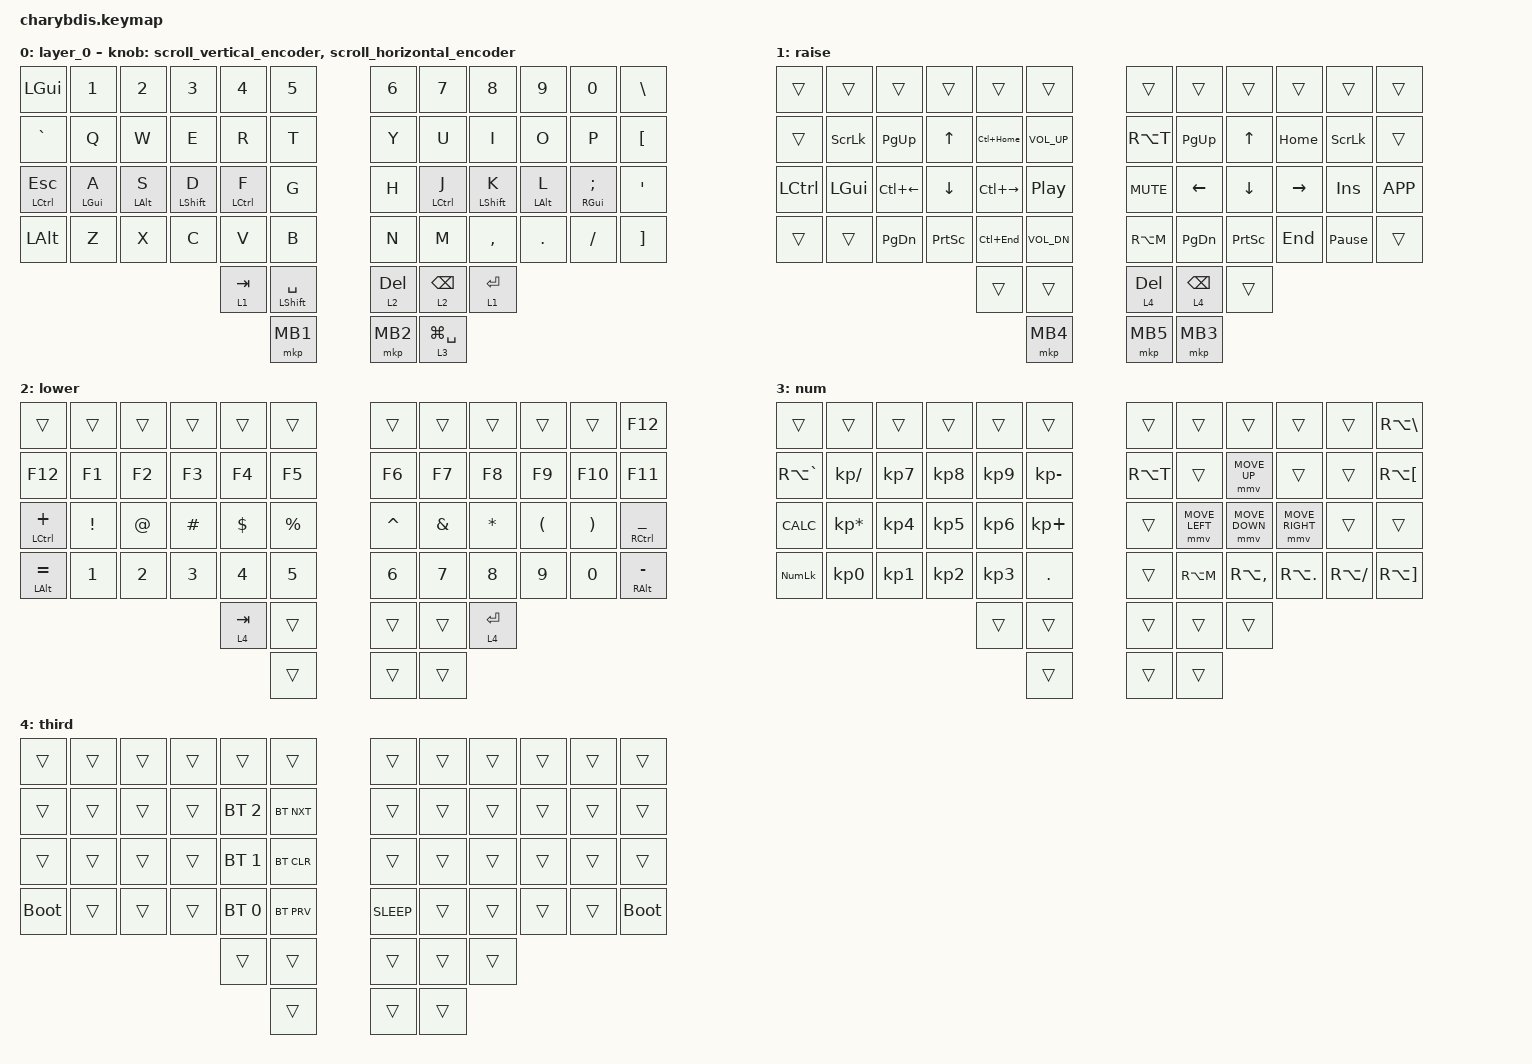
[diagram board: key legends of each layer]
    #include <dt-bindings/zmk/mouse.h>
#include <input/processors.dtsi>
#include <zephyr/dt-bindings/input/input-event-codes.h>
#include <behaviors.dtsi>
#include <dt-bindings/zmk/bt.h>
#include <dt-bindings/zmk/keys.h>
#include <dt-bindings/zmk/pointing.h>

#define ZMK_POINTING_DEFAULT_MOVE_VAL 1000 // 600
#define ZMK_POINTING_DEFAULT_SCRL_VAL 12   // 10

&lt {
    tapping-term-ms = <200>;
    flavor = "balanced";
    quick-tap-ms = <150>;
};

&mmv_input_listener { input-processors = <&zip_xy_scaler 2 1>; };

&msc_input_listener { input-processors = <&zip_scroll_scaler 2 1>; };

&msc {
    acceleration-exponent = <0>;      // 0
    time-to-max-speed-ms = <100>;       // 300
    delay-ms = <0>;                   // 0
};

&mmv {
    time-to-max-speed-ms = <500>;
    acceleration-exponent = <1>;
    trigger-period-ms = <16>;
};

/ {
    // 上下滚动编码器行为

    scroll_vertical_encoder: scroll_vertical_encoder {
        compatible = "zmk,behavior-sensor-rotate";
        #sensor-binding-cells = <0>;
        bindings = <&msc SCRL_DOWN>, <&msc SCRL_UP>;

        tap-ms = <100>;
    };

    // 左右滚动编码器行为

    scroll_horizontal_encoder: scroll_horizontal_encoder {
        compatible = "zmk,behavior-sensor-rotate";
        #sensor-binding-cells = <0>;
        bindings = <&msc SCRL_LEFT>, <&msc SCRL_RIGHT>;

        tap-ms = <100>;
    };

    hrml: homewrow_mods_left {
        compatible = "zmk,behavior-hold-tap";
        label = "HMRL";
        bindings = <&kp>, <&kp>;

        #binding-cells = <2>;
        tapping-term-ms = <280>;
        flavor = "balanced";
        hold-trigger-key-positions = <6 18 30 42 7 8 9 10 11 19 20 21 22 23 31 32 33 34 35 43 44 45 46 47 52 42 43 51 52 55>;
        require-prior-idle-ms = <150>;
        quick-tap-ms = <175>;
        hold-trigger-on-release;
    };

    hrmr: homewrow_mods_right {
        compatible = "zmk,behavior-hold-tap";
        label = "HRMR";
        bindings = <&kp>, <&kp>;

        #binding-cells = <2>;
        tapping-term-ms = <280>;
        hold-trigger-key-positions = <0 1 2 3 4 5 12 13 14 15 16 17 24 25 26 27 28 29 36 37 38 39 40 41 48 49 50 53 54>;
        flavor = "balanced";
        quick-tap-ms = <175>;
        require-prior-idle-ms = <150>;
        hold-trigger-on-release;
    };

    ltm: lt_for_mouse {
        compatible = "zmk,behavior-hold-tap";
        label = "LT_FOR_MOUSE";
        bindings = <&mo>, <&kp>;

        #binding-cells = <2>;
        tapping-term-ms = <200>;
        hold-while-undecided;
        flavor = "balanced";
        quick-tap-ms = <150>;
    };

    behaviors {
    };

    keymap {
        compatible = "zmk,keymap";

        layer_0 {
            bindings = <
&kp LEFT_GUI   &kp N1            &kp N2            &kp N3              &kp N4                &kp N5       &kp N6           &kp N7                &kp N8              &kp N9            &kp N0                     &kp BACKSLASH
&kp GRAVE      &kp Q             &kp W             &kp E               &kp R                 &kp T        &kp Y            &kp U                 &kp I               &kp O             &kp P                      &kp LBKT
&mt LCTRL ESC  &hrml LEFT_GUI A  &hrml LEFT_ALT S  &hrml LEFT_SHIFT D  &hrml LEFT_CONTROL F  &kp G        &kp H            &hrmr LEFT_CONTROL J  &hrmr LEFT_SHIFT K  &hrmr LEFT_ALT L  &hrmr RIGHT_GUI SEMICOLON  &kp SQT
&kp LALT       &kp Z             &kp X             &kp C               &kp V                 &kp B        &kp N            &kp M                 &kp COMMA           &kp DOT           &kp FSLH                   &kp RBKT
                                                   &ltm 1 TAB          &mt LSHFT SPACE       &lt 2 DEL    &lt 2 BACKSPACE  &lt 1 ENTER
                                                                       &mkp MB1              &mkp MB2     &lt 3 LG(SPACE)
            >;

            sensor-bindings =
                <&scroll_vertical_encoder>,
                // 编码器1：上下滚动,,,,,,,,,,,,,,,,,,,,,,,
                <&scroll_horizontal_encoder>;

            // 编码器2：左右滚动
        };

        raise {
            bindings = <
&trans     &trans        &trans        &trans     &trans         &trans          &trans           &trans         &trans     &trans     &trans           &trans
&trans     &kp SLCK      &kp PG_UP     &kp UP     &kp LC(HOME)   &kp C_VOL_UP    &kp RA(T)        &kp PG_UP      &kp UP     &kp HOME   &kp SLCK         &trans
&kp LCTRL  &kp LEFT_GUI  &kp LC(LEFT)  &kp DOWN   &kp LC(RIGHT)  &kp C_PP        &kp C_MUTE       &kp LEFT       &kp DOWN   &kp RIGHT  &kp INS          &kp K_APP
&trans     &trans        &kp PG_DN     &kp PSCRN  &kp LC(END)    &kp C_VOL_DN    &kp RA(M)        &kp PAGE_DOWN  &kp PSCRN  &kp END    &kp PAUSE_BREAK  &trans
                                       &trans     &trans         &lt 4 DEL       &lt 4 BACKSPACE  &trans
                                                  &mkp MB4       &mkp MB5        &mkp MB3
            >;
        };

        lower {
            bindings = <
&trans          &trans    &trans  &trans     &trans    &trans       &trans     &trans       &trans    &trans    &trans    &kp F12
&kp F12         &kp F1    &kp F2  &kp F3     &kp F4    &kp F5       &kp F6     &kp F7       &kp F8    &kp F9    &kp F10   &kp F11
&mt LCTRL PLUS  &kp EXCL  &kp AT  &kp HASH   &kp DLLR  &kp PRCNT    &kp CARET  &kp AMPS     &kp STAR  &kp LPAR  &kp RPAR  &mt RCTRL UNDER
&mt LALT EQUAL  &kp N1    &kp N2  &kp N3     &kp N4    &kp N5       &kp N6     &kp N7       &kp N8    &kp N9    &kp N0    &mt RALT MINUS
                                  &lt 4 TAB  &trans    &trans       &trans     &lt 4 ENTER
                                             &trans    &trans       &trans
            >;
        };

        num {
            bindings = <
&trans         &trans           &trans     &trans     &trans     &trans          &trans     &trans          &trans          &trans           &trans        &kp RA(BSLH)
&kp RA(GRAVE)  &kp KP_SLASH     &kp KP_N7  &kp KP_N8  &kp KP_N9  &kp KP_MINUS    &kp RA(T)  &trans          &mmv MOVE_UP    &trans           &trans        &kp RA(LBKT)
&kp K_CALC     &kp KP_ASTERISK  &kp KP_N4  &kp KP_N5  &kp KP_N6  &kp KP_PLUS     &trans     &mmv MOVE_LEFT  &mmv MOVE_DOWN  &mmv MOVE_RIGHT  &trans        &trans
&kp KP_NUM     &kp KP_N0        &kp KP_N1  &kp KP_N2  &kp KP_N3  &kp DOT         &trans     &kp RA(M)       &kp RA(COMMA)   &kp RA(DOT)      &kp RA(FSLH)  &kp RA(RBKT)
                                           &trans     &trans     &trans          &trans     &trans
                                                      &trans     &trans          &trans
            >;
        };

        third {
            bindings = <
&trans       &trans  &trans  &trans  &trans        &trans        &trans       &trans  &trans  &trans  &trans  &trans
&trans       &trans  &trans  &trans  &bt BT_SEL 2  &bt BT_NXT    &trans       &trans  &trans  &trans  &trans  &trans
&trans       &trans  &trans  &trans  &bt BT_SEL 1  &bt BT_CLR    &trans       &trans  &trans  &trans  &trans  &trans
&bootloader  &trans  &trans  &trans  &bt BT_SEL 0  &bt BT_PRV    &kp C_SLEEP  &trans  &trans  &trans  &trans  &bootloader
                             &trans  &trans        &trans        &trans       &trans
                                     &trans        &trans        &trans
            >;
        };

        /* layer_2 {
            bindings = <
&none  &none   &none    &none   &none         &none         &kp N1         &none         &none     &none  &none   &to 0
&none  &none   &none    &none   &none         &none         &none         &none          &rgb_ug RGB_BRD &rgb_ug RGB_BRI  &rgb_ug RGB_EFF   &rgb_ug RGB_TOG
&none  &none   &none    &none   &none         &none         &none         &mkp LCLK     &mkp RCLK  &none  &none   &none
&none  &none   &none    &none   &bt BT_NXT  &bt BT_CLR    &none         &none         &none     &none  &none   &none
                                   &none         &none         &none         &none         &none
                                                 &none         &none         &none
            >;


        };

       Mouse {
            bindings = <
&none        &none         &none         &none         &none      &none         &none       &none      &none         &none         &none         &none
&none        &bt BT_SEL 0  &bt BT_SEL 1  &bt BT_SEL 3  &none      &bt BT_CLR    &bt BT_CLR  &none      &bt BT_SEL 2  &bt BT_SEL 1  &bt BT_SEL 0  &none
&none        &trans        &trans        &mkp MCLK     &trans     &none         &none       &trans     &mkp MCLK     &trans        &trans        &none
&bootloader  &trans        &mkp RCLK     &mo 4         &mkp LCLK  &mo 5         &mo 5       &mkp LCLK  &mo 4         &mkp RCLK     &trans        &bootloader
                                         &mo 5         &mkp LCLK  &mkp RCLK     &mkp RCLK   &mkp LCLK
                                                       &none      &trans        &trans
            >;


        };

        layer_4 {
            bindings = <
&trans  &trans  &trans     &trans     &trans     &trans       &trans     &trans     &trans     &trans     &trans  &trans
&trans  &trans  &trans     &trans     &trans     &trans       &trans     &trans     &trans     &trans     &trans  &trans
&trans  &trans  &trans     &mkp MCLK  &trans     &trans       &trans     &trans     &mkp MCLK  &trans     &trans  &trans
&trans  &trans  &mkp RCLK  &trans     &mkp LCLK  &trans       &trans     &mkp LCLK  &trans     &mkp RCLK  &trans  &trans
                           &trans     &mkp LCLK  &mkp RCLK    &mkp RCLK  &mkp LCLK
                                      &trans     &trans       &trans
            >;



        };

        layer_5 {
            bindings = <
&trans  &trans  &trans     &trans     &trans     &trans       &trans     &trans     &trans     &trans     &trans  &trans
&trans  &trans  &trans     &trans   F  &trans     &trans       &trans     &trans     &trans     &trans     &trans
&trans
&trans  &trans  &trans     &mkp MCLK  &trans     &trans       &trans     &trans     &mkp MCLK  &trans     &trans  &trans
&trans  &trans  &mkp RCLK  &trans     &mkp LCLK  &trans       &trans     &mkp LCLK  &trans     &mkp RCLK  &trans  &trans
                           &trans     &mkp LCLK  &mkp RCLK    &mkp RCLK  &mkp LCLK
                                      &trans     &trans       &trans
            >;


        };*/
    };
};
